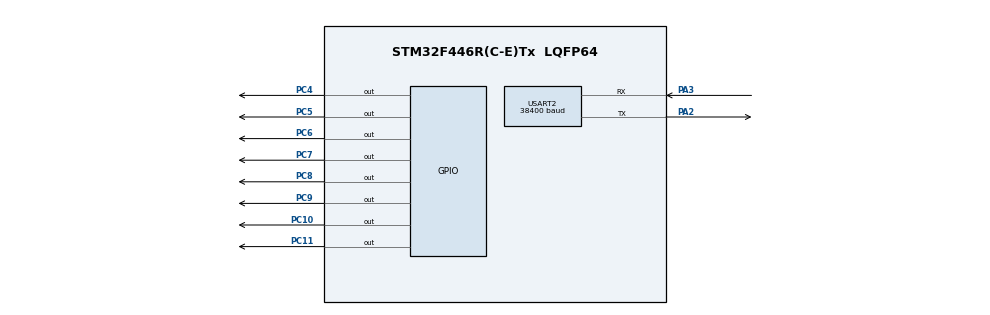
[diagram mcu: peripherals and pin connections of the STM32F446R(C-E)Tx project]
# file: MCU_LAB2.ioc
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Mcu.Family=STM32F4
Mcu.Name=STM32F446R(C-E)Tx
Mcu.Package=LQFP64
NVIC.PriorityGroup=NVIC_PRIORITYGROUP_4
NVIC.USART2_IRQn=true\:0\:0\:false\:false\:true\:true\:true\:true
PA2.Mode=Asynchronous
PA2.Signal=USART2_TX
PA3.Mode=Asynchronous
PA3.Signal=USART2_RX
PC10.Signal=GPIO_Output
PC11.Signal=GPIO_Output
PC4.Signal=GPIO_Output
PC5.Signal=GPIO_Output
PC6.Signal=GPIO_Output
PC7.Signal=GPIO_Output
PC8.Signal=GPIO_Output
PC9.Signal=GPIO_Output
ProjectManager.HeapSize=0x200
ProjectManager.StackSize=0x400
ProjectManager.TargetToolchain=STM32CubeIDE
RCC.CortexFreq_Value=16000000
RCC.USBFreq_Value=96000000
RCC.VCOOutputFreq_Value=192000000
USART2.BaudRate=38400
USART2.VirtualMode=VM_ASYNC
board=custom

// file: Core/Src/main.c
/* USER CODE BEGIN Header */
/**
  ******************************************************************************
  * @file           : main.c
  * @brief          : Main program body
  ******************************************************************************
  * @attention
  *
  * Copyright (c) 2024 STMicroelectronics.
  * All rights reserved.
  *
  * This software is licensed under terms that can be found in the LICENSE file
  * in the root directory of this software component.
  * If no LICENSE file comes with this software, it is provided AS-IS.
  *
  ******************************************************************************
  */
/* USER CODE END Header */
#include "main.h"

/* USER CODE BEGIN Includes */
#include <stdbool.h>
#include <stdio.h>
/* USER CODE END Includes */

UART_HandleTypeDef huart2;

void SystemClock_Config(void);
static void MX_GPIO_Init(void);
static void MX_USART2_UART_Init(void);

/* USER CODE BEGIN 0 */
// TODO: TYPE OF WORK --> 3

uint8_t cmd[9];
uint8_t RxData[9];
uint8_t temp[2];
int indx = 0;

/*
 * AVAILABLE COMMANDS:
 * P:  PING -> "PING"
 * N:  LEDS_ON -> "LEDS_ON"
 * F:  LEDS_OFF -> "LEDS_OFF"
 * C: 0b11100011 -> turn on if "1", else turn off CUSTOM
 * S:  STATE -> "11100011" , "1" if led turned on ,else turned off
 * */

uint8_t binToByte(uint8_t* binaryString) {
    uint8_t result = 0;
    for (int i = 0; i < 8; i++) {
        if (binaryString[i] == '1') {
            result |= (1 << (7 - i));
        }
    }
    return result;
}

void byteToString(uint8_t byte, uint8_t* binaryString) {
    for (int i = 0; i < 8; i++) {
        binaryString[i] = (byte & (1 << (7 - i))) ? '1' : '0';
    }
    binaryString[8] = '\0';
}

void ping(){
	HAL_UART_Transmit_IT(&huart2, (uint8_t *)&cmd[0], 1);
}

void leds_state(){
	uint8_t pins = GPIOC->IDR;
	uint8_t buff[8];
	byteToString(pins, buff);

	HAL_UART_Transmit_IT(&huart2, buff, 8);
}

//void add();
#define LED_PIN_MASK 0x0FF0 // 0000 1111 1111 0000

void leds(uint8_t* str) {
	uint8_t data[] = "C";
	uint8_t bin = binToByte(str);
    GPIOC->BSRR = ((~bin << 4) & LED_PIN_MASK) << 16 | ((bin << 4) & LED_PIN_MASK);
	HAL_UART_Transmit_IT(&huart2, data, 1);
}

bool cmd_executed = false;
/* USER CODE END 0 */

int main(void)
{

  /* MCU Configuration--------------------------------------------------------*/

  /* Reset of all peripherals, Initializes the Flash interface and the Systick. */
  HAL_Init();

  /* Configure the system clock */
  SystemClock_Config();

  /* Initialize all configured peripherals */
  MX_GPIO_Init();
  MX_USART2_UART_Init();
  /* USER CODE BEGIN 2 */
  HAL_UART_Receive_IT(&huart2, temp, 1);
  /* USER CODE END 2 */

  /* Infinite loop */
  /* USER CODE BEGIN WHILE */
  while (1) {
	  if (temp[0] == '\n')
	  {
		  memcpy (cmd, RxData, indx);
		  indx = 0;
		}

	  if (!cmd_executed){
		  switch (cmd[0]) {
			case 'P':
				ping(); cmd_executed = true;
			  break;
			case 'N':
				uint8_t all[] = "11111111";
				leds(all); cmd_executed = true;
				break;
			case 'F':
				uint8_t noone[] = "00000000";
				leds(noone); cmd_executed = true;
				break;
			case 'S':
				leds_state(); cmd_executed = true;
			case '1':
				leds(cmd); cmd_executed = true;
				break;
			case '0':
				leds(cmd); cmd_executed = true;
				break;
			default:
				break;
		  }
	  }

//	HAL_UART_Transmit_IT();
    /* USER CODE END WHILE */

  }
}

void SystemClock_Config(void)
{
  RCC_OscInitTypeDef RCC_OscInitStruct = {0};
  RCC_ClkInitTypeDef RCC_ClkInitStruct = {0};

  /** Configure the main internal regulator output voltage
  */
  __HAL_RCC_PWR_CLK_ENABLE();
  __HAL_PWR_VOLTAGESCALING_CONFIG(PWR_REGULATOR_VOLTAGE_SCALE3);

  /** Initializes the RCC Oscillators according to the specified parameters
  * in the RCC_OscInitTypeDef structure.
  */
  RCC_OscInitStruct.OscillatorType = RCC_OSCILLATORTYPE_HSI;
  RCC_OscInitStruct.HSIState = RCC_HSI_ON;
  RCC_OscInitStruct.HSICalibrationValue = RCC_HSICALIBRATION_DEFAULT;
  RCC_OscInitStruct.PLL.PLLState = RCC_PLL_NONE;
  if (HAL_RCC_OscConfig(&RCC_OscInitStruct) != HAL_OK)
  {
    Error_Handler();
  }

  /** Initializes the CPU, AHB and APB buses clocks
  */
  RCC_ClkInitStruct.ClockType = RCC_CLOCKTYPE_HCLK|RCC_CLOCKTYPE_SYSCLK
                              |RCC_CLOCKTYPE_PCLK1|RCC_CLOCKTYPE_PCLK2;
  RCC_ClkInitStruct.SYSCLKSource = RCC_SYSCLKSOURCE_HSI;
  RCC_ClkInitStruct.AHBCLKDivider = RCC_SYSCLK_DIV1;
  RCC_ClkInitStruct.APB1CLKDivider = RCC_HCLK_DIV1;
  RCC_ClkInitStruct.APB2CLKDivider = RCC_HCLK_DIV1;

  if (HAL_RCC_ClockConfig(&RCC_ClkInitStruct, FLASH_LATENCY_0) != HAL_OK)
  {
    Error_Handler();
  }
}

static void MX_USART2_UART_Init(void)
{

  huart2.Instance = USART2;
  huart2.Init.BaudRate = 38400;
  huart2.Init.WordLength = UART_WORDLENGTH_8B;
  huart2.Init.StopBits = UART_STOPBITS_1;
  huart2.Init.Parity = UART_PARITY_NONE;
  huart2.Init.Mode = UART_MODE_TX_RX;
  huart2.Init.HwFlowCtl = UART_HWCONTROL_NONE;
  huart2.Init.OverSampling = UART_OVERSAMPLING_16;
  if (HAL_UART_Init(&huart2) != HAL_OK)
  {
    Error_Handler();
  }

}

static void MX_GPIO_Init(void)
{
  GPIO_InitTypeDef GPIO_InitStruct = {0};

  /* GPIO Ports Clock Enable */
  __HAL_RCC_GPIOA_CLK_ENABLE();
  __HAL_RCC_GPIOC_CLK_ENABLE();

  /*Configure GPIO pin Output Level */
  HAL_GPIO_WritePin(GPIOC, GPIO_PIN_4|GPIO_PIN_5|GPIO_PIN_6|GPIO_PIN_7
                          |GPIO_PIN_8|GPIO_PIN_9|GPIO_PIN_10|GPIO_PIN_11, GPIO_PIN_RESET);

  /*Configure GPIO pins : PC4 PC5 PC6 PC7
                           PC8 PC9 PC10 PC11 */
  GPIO_InitStruct.Pin = GPIO_PIN_4|GPIO_PIN_5|GPIO_PIN_6|GPIO_PIN_7
                          |GPIO_PIN_8|GPIO_PIN_9|GPIO_PIN_10|GPIO_PIN_11;
  GPIO_InitStruct.Mode = GPIO_MODE_OUTPUT_PP;
  GPIO_InitStruct.Pull = GPIO_NOPULL;
  GPIO_InitStruct.Speed = GPIO_SPEED_FREQ_LOW;
  HAL_GPIO_Init(GPIOC, &GPIO_InitStruct);

}

/* USER CODE BEGIN 4 */

//void HAL_UARTEx_RxEventCallback(UART_HandleTypeDef *huart, uint16_t Size){
//
//if Size ==
//}

void HAL_UART_RxCpltCallback(UART_HandleTypeDef *huart) {

//	HAL_UART_Receive_IT(&huart2, cmd, 8);
//	huart2.pRxBuffPtr -= 1U;
//	HAL_UART_AbortReceive_IT(&huart2);
//	uint8_t receivedByte;
//	HAL_UART_Receive_IT(&huart2, &receivedByte, 1);
//	    if (cmdIndex < sizeof(cmd) - 1) {
//	        cmd[cmdIndex++] = receivedByte;
//	    }
	memcpy(RxData+indx, temp, 1);
	if (++indx >= 8) indx = 0;
	HAL_UART_Receive_IT(&huart2, temp, 1);

	HAL_UART_Reve

	cmd_executed = false;
}

/* USER CODE END 4 */

void Error_Handler(void)
{
  __disable_irq();
  while (1)
  {
  }
}
